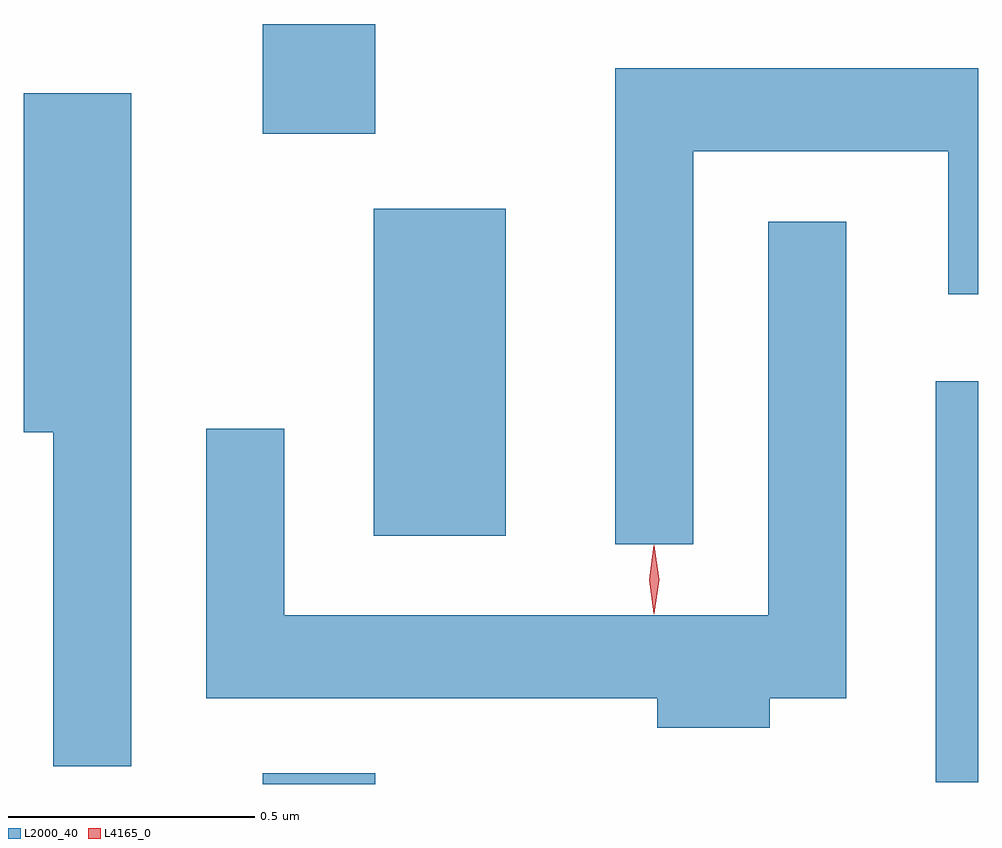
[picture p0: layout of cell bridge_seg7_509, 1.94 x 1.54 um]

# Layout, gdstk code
import gdstk
lib = gdstk.Library(unit=1e-6, precision=1e-09)
def R(c, l, rs):  # rectangles x0, y0, x1, y1
    for r in rs: c.add(gdstk.rectangle(r[:2], r[2:], *l))
def P(c, l, *ps):  # polygons
    for p in ps: c.add(gdstk.Polygon(p, *l))
L2000_40 = (2000, 40)
L4165_0 = (4165, 0)

bridge_seg7_509 = lib.new_cell('bridge_seg7_509')
R(bridge_seg7_509, L2000_40, [(1421.981,1668.252,1422.209,1668.274), (1423.346,1668.256,1423.432,1669.069), (1422.206,1668.756,1422.474,1669.419), (1421.981,1669.571,1422.209,1669.794)])
P(bridge_seg7_509, L2000_40, [(1422.854,1669.536),(1423.371,1669.536),(1423.371,1669.246),(1423.432,1669.246),(1423.432,1669.704),(1422.696,1669.704),(1422.696,1668.738),(1422.854,1668.738)],
  [(1421.714,1669.654),(1421.496,1669.654),(1421.496,1668.966),(1421.556,1668.966),(1421.556,1668.288),(1421.714,1668.288)],
  [(1423.009,1668.426),(1423.164,1668.426),(1423.164,1669.393),(1423.006,1669.393),(1423.006,1668.594),(1422.024,1668.594),(1422.024,1668.973),(1421.866,1668.973),(1421.866,1668.426),(1422.781,1668.426),(1422.781,1668.366),(1423.009,1668.366)])
P(bridge_seg7_509, L4165_0, [(1422.775,1668.599),(1422.774,1668.6),(1422.765,1668.666),(1422.774,1668.732),(1422.775,1668.733),(1422.775,1668.732),(1422.785,1668.666),(1422.775,1668.6)],
  [(1422.774,1668.597),(1422.765,1668.666),(1422.774,1668.736),(1422.775,1668.736),(1422.775,1668.736),(1422.785,1668.666),(1422.775,1668.597),(1422.775,1668.597)])

lib.write_gds('bridge_seg7_509.gds')
